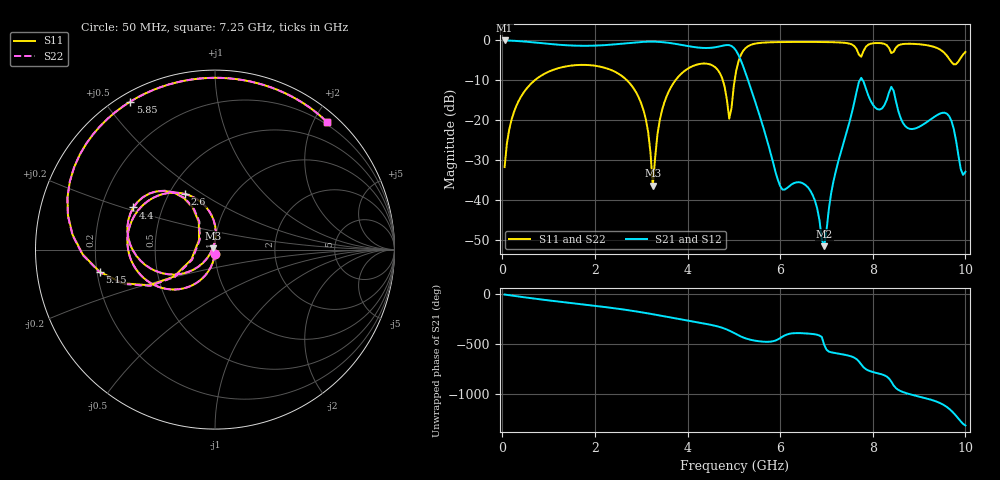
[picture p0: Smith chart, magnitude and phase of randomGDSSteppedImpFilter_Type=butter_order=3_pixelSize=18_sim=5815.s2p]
! freq	dB(S11)	phase(S11)	dB(S12)	phase(S12)
!  dB(S21)	phase(S21)	dB(S22)	phase(S22)
!S-par simulation data
#  GHz  S  DB  R 50
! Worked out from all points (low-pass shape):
!   200 points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, 50 MHz to 10 GHz, reference 50 ohm
!   highest |S21| = -0.01 dB at 50 MHz (marker M1); lowest = -51.7 dB at 6.95 GHz (marker M2)
!   |S21| within 3 dB of the highest: start of sweep to 5.069 GHz
!   lowest |S11| = -36.5 dB at 3.25 GHz (marker M3), VSWR 1.03, Z = 48.7 + j0.771 ohm
!   |S11| at or under -10 dB: start of sweep to 702.6 MHz; 2.689 GHz to 3.74 GHz (1.051 GHz wide, 32.7 % of centre); 4.761 GHz to 5.018 GHz (256.9 MHz wide, 5.25 % of centre)
!   |S22| runs from -36.4 to -0.4 dB; largest |S21 - S12| = 0
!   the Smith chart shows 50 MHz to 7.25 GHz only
!   S11 on the Smith chart (normalised r, x): 50 MHz: 1.00, -0.05; 2.6 GHz: 0.60, +0.43; 4.4 GHz: 0.34, +0.22; 5.15 GHz: 0.21, -0.09; 5.85 GHz: 0.03, +0.58; 7.25 GHz: 0.16, +2.20
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0.05  -31.81 -93.4  -0.01 -3.3  -0.01 -3.3  -31.81 -93.4
0.5  -12.46 -122.9  -0.30 -32.4  -0.30 -32.4  -12.46 -122.9
1.75  -6.14 166.7  -1.35 -103.0  -1.35 -103.0  -6.14 166.7
2.6  -9.09 118.2  -0.79 -152.6  -0.79 -152.6  -9.09 118.2
3.05  -17.56 89.7  -0.36 175.0  -0.36 175.0  -17.55 89.7
3.25  -36.50 148.1  -0.31 158.9  -0.31 158.9  -36.37 148.2
3.4  -20.03 -132.0  -0.38 146.4  -0.38 146.4  -20.03 -132.2
4.4  -5.82 152.7  -1.90 62.3  -1.90 62.3  -5.82 152.5
4.9  -19.64 148.2  -1.19 -4.9  -1.19 -4.9  -19.94 147.4
5.05  -7.65 -151.4  -2.60 -41.1  -2.60 -41.1  -7.68 -150.7
5.15  -3.68 -169.1  -4.96 -64.3  -4.96 -64.3  -3.69 -168.7
5.85  -0.45 119.7  -30.75 -111.6  -30.75 -111.6  -0.45 119.8
6.7  -0.38 75.9  -38.78 -39.8  -38.78 -39.8  -0.38 76.0
6.95  -0.41 63.8  -51.66 -147.5  -51.66 -147.5  -0.40 64.0
7.25  -0.49 48.8  -30.59 123.6  -30.59 123.6  -0.49 48.9
7.75  -4.10 34.4  -9.39 14.7  -9.39 14.7  -4.04 34.4
8.35  -1.88 -4.1  -13.09 -125.9  -13.09 -125.9  -1.89 -4.0
8.75  -0.84 -13.7  -21.98 82.1  -21.98 82.1  -0.84 -13.5
9.4  -1.96 -75.2  -18.68 -3.0  -18.68 -3.0  -1.95 -74.6
9.7  -5.44 -165.6  -20.24 -92.4  -20.24 -92.4  -5.42 -163.8
9.85  -5.28 101.7  -28.92 -169.5  -28.92 -169.5  -5.36 103.1
10  -2.89 40.6  -33.00 121.5  -33.00 121.5  -2.93 41.1
